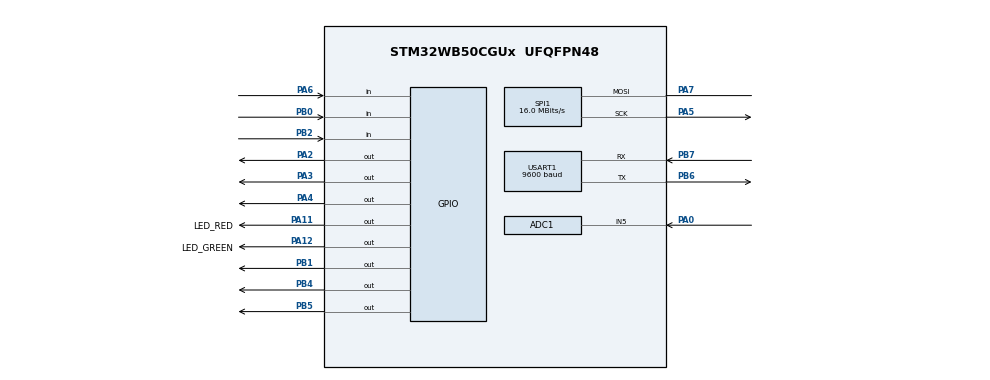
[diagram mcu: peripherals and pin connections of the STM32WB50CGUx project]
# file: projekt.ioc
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ADC1.Channel-0\#ChannelRegularConversion=ADC_CHANNEL_5
ADC1.ClockPrescaler=ADC_CLOCK_ASYNC_DIV1
ADC1.NbrOfConversionFlag=1
ADC1.OffsetNumber-0\#ChannelRegularConversion=ADC_OFFSET_NONE
ADC1.OversamplingMode=ENABLE
ADC1.Rank-0\#ChannelRegularConversion=1
ADC1.Ratio=ADC_OVERSAMPLING_RATIO_256
ADC1.Resolution=ADC_RESOLUTION_16B
ADC1.RightBitShift=ADC_RIGHTBITSHIFT_4
ADC1.SamplingTime-0\#ChannelRegularConversion=ADC_SAMPLETIME_2CYCLES_5
ADC1.master=1
Dma.Request0=SPI1_TX
Dma.SPI1_TX.0.Direction=DMA_MEMORY_TO_PERIPH
Dma.SPI1_TX.0.EventEnable=DISABLE
Dma.SPI1_TX.0.Instance=DMA1_Channel1
Dma.SPI1_TX.0.MemDataAlignment=DMA_MDATAALIGN_HALFWORD
Dma.SPI1_TX.0.MemInc=DMA_MINC_ENABLE
Dma.SPI1_TX.0.Mode=DMA_NORMAL
Dma.SPI1_TX.0.PeriphDataAlignment=DMA_PDATAALIGN_HALFWORD
Dma.SPI1_TX.0.PeriphInc=DMA_PINC_DISABLE
Dma.SPI1_TX.0.Polarity=HAL_DMAMUX_REQ_GEN_RISING
Dma.SPI1_TX.0.Priority=DMA_PRIORITY_LOW
Dma.SPI1_TX.0.RequestNumber=1
Dma.SPI1_TX.0.SignalID=NONE
Dma.SPI1_TX.0.SyncEnable=DISABLE
Dma.SPI1_TX.0.SyncPolarity=HAL_DMAMUX_SYNC_NO_EVENT
Dma.SPI1_TX.0.SyncRequestNumber=1
Dma.SPI1_TX.0.SyncSignalID=NONE
Mcu.Family=STM32WB
Mcu.Name=STM32WB50CGUx
Mcu.Package=UFQFPN48
NVIC.DMA1_Channel1_IRQn=true\:0\:0\:false\:false\:true\:false\:true\:true
NVIC.IPCC_C1_RX_IRQn=true\:0\:0\:false\:false\:true\:true\:true\:true
NVIC.IPCC_C1_TX_IRQn=true\:0\:0\:false\:false\:true\:true\:true\:true
NVIC.PriorityGroup=NVIC_PRIORITYGROUP_4
NVIC.TIM2_IRQn=true\:0\:0\:false\:false\:true\:true\:true\:true
NVIC.USART1_IRQn=true\:0\:0\:false\:false\:true\:true\:true\:true
OSC_IN.Mode=HSE-External-Oscillator
OSC_IN.Signal=RCC_OSC_IN
OSC_OUT.Mode=HSE-External-Oscillator
OSC_OUT.Signal=RCC_OSC_OUT
PA0.Signal=ADCx_IN5
PA11.GPIO_Label=LED_RED
PA11.Signal=GPIO_Output
PA12.GPIO_Label=LED_GREEN
PA12.Signal=GPIO_Output
PA13.Mode=Trace_Asynchronous_SW
PA13.Signal=SYS_JTMS-SWDIO
PA14.Mode=Trace_Asynchronous_SW
PA14.Signal=SYS_JTCK-SWCLK
PA2.Signal=GPIO_Output
PA3.Signal=GPIO_Output
PA4.Signal=GPIO_Output
PA5.Mode=Simplex_Bidirectional_Master
PA5.Signal=SPI1_SCK
PA6.GPIO_PuPd=GPIO_NOPULL
PA6.Signal=GPIO_Input
PA7.Mode=Simplex_Bidirectional_Master
PA7.Signal=SPI1_MOSI
PB0.GPIO_PuPd=GPIO_PULLUP
PB0.Signal=GPIO_Input
PB1.PinState=GPIO_PIN_SET
PB1.Signal=GPIO_Output
PB2.Signal=GPIO_Input
PB3.Mode=Trace_Asynchronous_SW
PB3.Signal=SYS_JTDO-SWO
PB4.Signal=GPIO_Output
PB5.Signal=GPIO_Output
PB6.Mode=Asynchronous
PB6.Signal=USART1_TX
PB7.Mode=Asynchronous
PB7.Signal=USART1_RX
ProjectManager.HeapSize=0x200
ProjectManager.StackSize=0x400
ProjectManager.TargetToolchain=STM32CubeIDE
RCC.ADCFreq_Value=32000000
RCC.AHBFreq_Value=32000000
RCC.APB1Freq_Value=32000000
RCC.APB1TimFreq_Value=32000000
RCC.APB2Freq_Value=32000000
RCC.APB2TimFreq_Value=32000000
RCC.APB3Freq_Value=16000000
RCC.CortexFreq_Value=32000000
RCC.HCLKFreq_Value=32000000
RCC.HSE_VALUE=32000000
RCC.HSI48_VALUE=48000000
RCC.HSI_VALUE=16000000
RCC.LSE_VALUE=32768
RCC.PLLN=64
RCC.PLLP=RCC_PLLP_DIV4
RCC.PLLQ=RCC_PLLQ_DIV4
RCC.PLLR=RCC_PLLR_DIV8
RCC.SYSCLKFreq_VALUE=32000000
RCC.SYSCLKSource=RCC_SYSCLKSOURCE_PLLCLK
RCC.VCOOutputFreq_Value=256000000
SH.ADCx_IN5.0=ADC1_IN5,IN5-Single-Ended
SPI1.BaudRatePrescaler=SPI_BAUDRATEPRESCALER_2
SPI1.CalculateBaudRate=16.0 MBits/s
SPI1.DataSize=SPI_DATASIZE_16BIT
SPI1.Direction=SPI_DIRECTION_1LINE
SPI1.Mode=SPI_MODE_MASTER
SPI1.VirtualType=VM_MASTER
TIM2.AutoReloadPreload=TIM_AUTORELOAD_PRELOAD_ENABLE
TIM2.Period=1000
TIM2.Prescaler=32000
USART1.BaudRate=9600
USART1.VirtualMode-Asynchronous=VM_ASYNC
VP_ADC1_Vref_Input.Mode=IN-Vrefint
VP_IPCC_VS_IPCC.Mode=IPCC_Activate
VP_TIM2_VS_ClockSourceINT.Mode=Internal
board=custom

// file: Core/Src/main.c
/* USER CODE BEGIN Header */
/**
  ******************************************************************************
  * @file           : main.c
  * @brief          : Main program body
  ******************************************************************************
  * @attention
  *
  * Copyright (c) 2023 STMicroelectronics.
  * All rights reserved.
  *
  * This software is licensed under terms that can be found in the LICENSE file
  * in the root directory of this software component.
  * If no LICENSE file comes with this software, it is provided AS-IS.
  *
  ******************************************************************************
  */
/* USER CODE END Header */
#include "main.h"
#include "adc.h"
#include "dma.h"
#include "ipcc.h"
#include "spi.h"
#include "tim.h"
#include "usart.h"
#include "gpio.h"

/* USER CODE BEGIN Includes */
#include <stdio.h>
#include <string.h>
#include "pll_maxim.h"
#include "command_processor.h"

float read_voltage();
/* USER CODE END Includes */

/* USER CODE BEGIN PD */
#define UART_TIMEOUT 100
/* USER CODE END PD */

void SystemClock_Config(void);

/* USER CODE BEGIN 0 */

#define RX_BFR_SIZE 64

char RxBuffer[RX_BFR_SIZE];
command_t global_command = AMS_NONE;
uint32_t global_args[MAX_ARG_LEN];

int _write(int file, char *ptr, int len) {
  int DataIdx;
  for (DataIdx = 0; DataIdx < len; DataIdx++) {
    ITM_SendChar(*ptr++);
  }
  return len;
}

void HAL_TIM_PeriodElapsedCallback(TIM_HandleTypeDef *htim)
{
	if(htim->Instance==TIM2)
	{
		if (global_command==AMS_NONE || global_command==AMS_STOP){
			HAL_GPIO_TogglePin(LED_RED_GPIO_Port, LED_RED_Pin);
			DisableRFOutput();//safeguard in case something bad happened in the code
		}else{
			HAL_GPIO_WritePin(LED_RED_GPIO_Port, LED_RED_Pin, GPIO_PIN_SET);
		}
	}
}

void HAL_Uart_RxCpltCallback(UART_HandleTypeDef *huart);

char strbuf[100];
void do_commands(){
	// check if there is command and if is, then process it
	if (global_command == AMS_SWEEP){
		uint32_t from = global_args[0];
		uint32_t to = global_args[1];
		uint32_t step = global_args[2];
		uint32_t pwr = global_args[3];
		EnableRFOutput();
		setRFA_PWR(pwr-1); // -1 because pwr is defined as 1,2,3,4 but MAX2870 expects 0,1,2,3
		uint32_t i;
		for (i=from; i<=to; i+=step){
			  //printf("setting %d MHz\n", i);
			  if (global_command==AMS_STOP)
				  return;
			  set_requested_frequency(i);
			  HAL_Delay(1);
			  uint16_t raw = read_raw();
			  sprintf(strbuf, "{%lu, %u}", i, raw);
			  HAL_UART_Transmit(&huart1, (uint8_t*)&strbuf, strlen(strbuf), UART_TIMEOUT);
		 }
		// send last frequency
		if (i!=to){
			set_requested_frequency(to);
			//HAL_Delay(1);
			uint16_t raw = read_raw();
			sprintf(strbuf, "{%lu, %u}", to, raw);
			HAL_UART_Transmit(&huart1, (uint8_t*)&strbuf, strlen(strbuf), UART_TIMEOUT);
		}
		HAL_UART_Transmit(&huart1, (uint8_t*)";", 2, UART_TIMEOUT);
		printf("Done\n");
		global_command = AMS_NONE;
		DisableRFOutput();

	}else if (global_command == AMS_SWEEP_CONT){
		uint32_t from = global_args[0];
		uint32_t to = global_args[1];
		uint32_t step = global_args[2];
		uint32_t pwr = global_args[3];
		EnableRFOutput();
		setRFA_PWR(pwr-1); // -1 because pwr is defined as 1,2,3,4 but MAX2870 expects 0,1,2,3
		uint32_t i;
		while (global_command!=AMS_STOP){
			for (i=from; i<=to; i+=step){
				  //printf("setting %d MHz\n", i);
				  if (global_command==AMS_STOP)
					  return;
				  set_requested_frequency(i);
				  HAL_Delay(1);
				  uint16_t raw = read_raw();
				  sprintf(strbuf, "{%lu, %u}", i, raw);
				  HAL_UART_Transmit(&huart1, (uint8_t*)&strbuf, strlen(strbuf), UART_TIMEOUT);
			 }
			// send last frequency
			if (i!=to){
				set_requested_frequency(to);
				//HAL_Delay(1);
				uint16_t raw = read_raw();
				sprintf(strbuf, "{%lu, %u}", to, raw);
				HAL_UART_Transmit(&huart1, (uint8_t*)&strbuf, strlen(strbuf), UART_TIMEOUT);
			}
		}
		HAL_UART_Transmit(&huart1, (uint8_t*)";", 2, UART_TIMEOUT);
		DisableRFOutput();
		global_command = AMS_NONE;
	}else if (global_command == AMS_SINGLE){
		EnableRFOutput();
		uint32_t f = global_args[0];
		uint32_t pwr = global_args[1];
		setRFA_PWR(pwr-1);
		set_requested_frequency(f);
		while(global_command==AMS_SINGLE){
			;
		}
		DisableRFOutput();
		global_command = AMS_NONE;
	}else if (global_command == AMS_REGISTER){
		// all registers should be 32bit numbers
		uint32_t reg_value_1 = global_args[0];
		uint32_t reg_value_2 = global_args[1];
		uint32_t reg_value_3 = global_args[2];
		uint32_t reg_value_4 = global_args[3];
		uint32_t reg_value_5 = global_args[4];
		write_reg(reg_value_1);
		write_reg(reg_value_2);
		write_reg(reg_value_3);
		write_reg(reg_value_4);
		write_reg(reg_value_5);
		EnableRFOutput();
		while(global_command==AMS_SINGLE){
					;
		}
		global_command = AMS_NONE;
	}else if (global_command == AMS_VERSION){
		strcpy(strbuf, "AMS_MSG(Antenna Measurement System Version 0.1);");
		HAL_UART_Transmit_IT(&huart1, (uint8_t*)&strbuf, strlen(strbuf));
		global_command = AMS_NONE;

	}else if (global_command == AMS_HOWAREYOU){
		strcpy(strbuf, "AMS_MSG(I am fine and working. So far so good.\nI feel bit exhausted, but ya know, that's life.);");
		HAL_UART_Transmit_IT(&huart1, (uint8_t*)&strbuf, strlen(strbuf));
		global_command = AMS_NONE;

	}else if (global_command == AMS_CHECK){
		strcpy(strbuf, "AMS_OK;");
		HAL_UART_Transmit_IT(&huart1, (uint8_t*)&strbuf, strlen(strbuf));
		global_command = AMS_NONE;
	}
}
/* USER CODE END 0 */

int main(void)
{

  /* MCU Configuration--------------------------------------------------------*/

  /* Reset of all peripherals, Initializes the Flash interface and the Systick. */
  HAL_Init();

  /* Configure the system clock */
  SystemClock_Config();

  /* IPCC initialisation */
  MX_IPCC_Init();

  /* Initialize all configured peripherals */
  MX_GPIO_Init();
  MX_DMA_Init();
  MX_SPI1_Init();
  MX_ADC1_Init();
  MX_TIM2_Init();
  MX_USART1_UART_Init();
  /* USER CODE BEGIN 2 */
  HAL_TIM_Base_Start_IT(&htim2);
  HAL_UARTEx_ReceiveToIdle_IT(&huart1, (uint8_t *) RxBuffer, RX_BFR_SIZE);
  /* USER CODE END 2 */

  /* Infinite loop */
  /* USER CODE BEGIN WHILE */
  printf("Starting STM32\n");
  printf("Starting MAX\n");
  EnableChip();
  // just to be sure PLL RF output is turned off
  DisableRFOutput();
  // PLL Must be initialized on PowerUp
  init_PLL();

  // PLL must be set to default configuration specified in write_regs_SOFT
  write_regs_SOFT();
  setIntegerMode();

  //calibrate();
  for (int i=0; i<4; i++){
	  printf("RFA PWR: %d\n", i);
	  setRFA_PWR(i);
	  program_PLL();
	  //HAL_Delay(1);
  }
  //print_registers();
  printf("Setting test frequency to 65MHz\n");
  set_requested_frequency(65);
  while (1)
  {
    /* USER CODE END WHILE */

    /* USER CODE BEGIN 3 */
	  do_commands();
  }
  /* USER CODE END 3 */
}

void SystemClock_Config(void)
{
  RCC_OscInitTypeDef RCC_OscInitStruct = {0};
  RCC_ClkInitTypeDef RCC_ClkInitStruct = {0};

  /** Initializes the RCC Oscillators according to the specified parameters
  * in the RCC_OscInitTypeDef structure.
  */
  RCC_OscInitStruct.OscillatorType = RCC_OSCILLATORTYPE_HSI|RCC_OSCILLATORTYPE_HSE
                              |RCC_OSCILLATORTYPE_MSI;
  RCC_OscInitStruct.HSEState = RCC_HSE_ON;
  RCC_OscInitStruct.HSIState = RCC_HSI_ON;
  RCC_OscInitStruct.MSIState = RCC_MSI_ON;
  RCC_OscInitStruct.HSICalibrationValue = RCC_HSICALIBRATION_DEFAULT;
  RCC_OscInitStruct.MSICalibrationValue = RCC_MSICALIBRATION_DEFAULT;
  RCC_OscInitStruct.MSIClockRange = RCC_MSIRANGE_6;
  RCC_OscInitStruct.PLL.PLLState = RCC_PLL_ON;
  RCC_OscInitStruct.PLL.PLLSource = RCC_PLLSOURCE_MSI;
  RCC_OscInitStruct.PLL.PLLM = RCC_PLLM_DIV1;
  RCC_OscInitStruct.PLL.PLLN = 64;
  RCC_OscInitStruct.PLL.PLLP = RCC_PLLP_DIV4;
  RCC_OscInitStruct.PLL.PLLR = RCC_PLLR_DIV8;
  RCC_OscInitStruct.PLL.PLLQ = RCC_PLLQ_DIV4;
  if (HAL_RCC_OscConfig(&RCC_OscInitStruct) != HAL_OK)
  {
    Error_Handler();
  }

  /** Configure the SYSCLKSource, HCLK, PCLK1 and PCLK2 clocks dividers
  */
  RCC_ClkInitStruct.ClockType = RCC_CLOCKTYPE_HCLK4|RCC_CLOCKTYPE_HCLK2
                              |RCC_CLOCKTYPE_HCLK|RCC_CLOCKTYPE_SYSCLK
                              |RCC_CLOCKTYPE_PCLK1|RCC_CLOCKTYPE_PCLK2;
  RCC_ClkInitStruct.SYSCLKSource = RCC_SYSCLKSOURCE_PLLCLK;
  RCC_ClkInitStruct.AHBCLKDivider = RCC_SYSCLK_DIV1;
  RCC_ClkInitStruct.APB1CLKDivider = RCC_HCLK_DIV1;
  RCC_ClkInitStruct.APB2CLKDivider = RCC_HCLK_DIV1;
  RCC_ClkInitStruct.AHBCLK2Divider = RCC_SYSCLK_DIV1;
  RCC_ClkInitStruct.AHBCLK4Divider = RCC_SYSCLK_DIV1;

  if (HAL_RCC_ClockConfig(&RCC_ClkInitStruct, FLASH_LATENCY_1) != HAL_OK)
  {
    Error_Handler();
  }
}

/* USER CODE BEGIN 4 */

void HAL_UARTEx_RxEventCallback(UART_HandleTypeDef *huart, uint16_t Size)
{

		/* start the DMA again */
		printf("Size %d\n", Size);
		printf(RxBuffer);
		printf("Received\n");
		process_command_string(RxBuffer, &global_command, global_args);
		HAL_UARTEx_ReceiveToIdle_IT(&huart1, (uint8_t *) RxBuffer, RX_BFR_SIZE);
		//__HAL_DMA_DISABLE_IT(&hdma_usart1_rx, DMA_IT_HT);

}
/* USER CODE END 4 */

void Error_Handler(void)
{
  __disable_irq();
  while (1)
  {
  }
}
